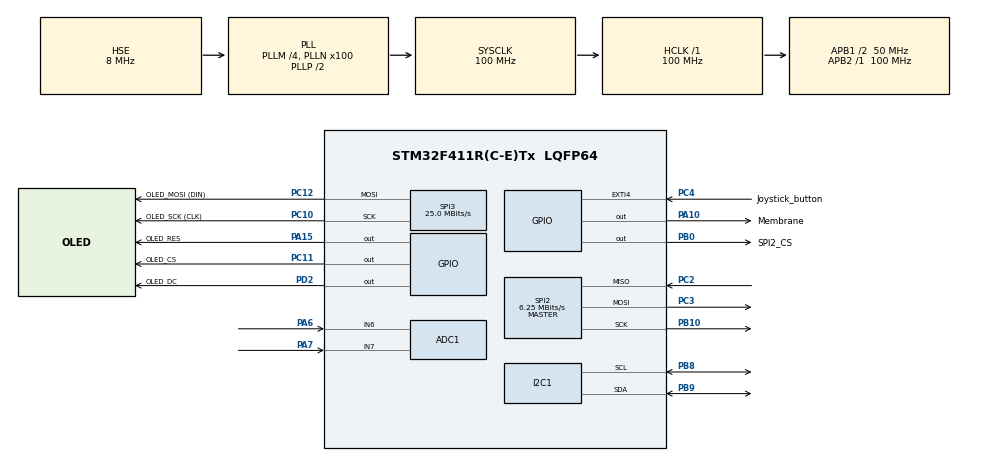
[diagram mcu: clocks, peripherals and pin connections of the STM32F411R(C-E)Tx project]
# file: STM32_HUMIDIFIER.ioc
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ADC1.Channel-1\#ChannelRegularConversion=ADC_CHANNEL_6
ADC1.Channel-2\#ChannelRegularConversion=ADC_CHANNEL_7
ADC1.ClockPrescaler=ADC_CLOCK_SYNC_PCLK_DIV8
ADC1.ContinuousConvMode=ENABLE
ADC1.DMAContinuousRequests=ENABLE
ADC1.NbrOfConversion=2
ADC1.NbrOfConversionFlag=1
ADC1.Rank-1\#ChannelRegularConversion=1
ADC1.Rank-2\#ChannelRegularConversion=2
ADC1.SamplingTime-1\#ChannelRegularConversion=ADC_SAMPLETIME_480CYCLES
ADC1.SamplingTime-2\#ChannelRegularConversion=ADC_SAMPLETIME_480CYCLES
ADC1.master=1
Dma.ADC1.0.Direction=DMA_PERIPH_TO_MEMORY
Dma.ADC1.0.FIFOMode=DMA_FIFOMODE_DISABLE
Dma.ADC1.0.Instance=DMA2_Stream0
Dma.ADC1.0.MemDataAlignment=DMA_MDATAALIGN_HALFWORD
Dma.ADC1.0.MemInc=DMA_MINC_ENABLE
Dma.ADC1.0.Mode=DMA_CIRCULAR
Dma.ADC1.0.PeriphDataAlignment=DMA_PDATAALIGN_HALFWORD
Dma.ADC1.0.PeriphInc=DMA_PINC_DISABLE
Dma.ADC1.0.Priority=DMA_PRIORITY_LOW
Dma.Request0=ADC1
FATFS._MAX_SS=4096
FATFS._USE_LFN=1
Mcu.Family=STM32F4
Mcu.Name=STM32F411R(C-E)Tx
Mcu.Package=LQFP64
NVIC.DMA2_Stream0_IRQn=true\:0\:0\:false\:false\:true\:false\:true\:true
NVIC.EXTI4_IRQn=true\:0\:0\:false\:false\:true\:true\:true\:true
NVIC.PriorityGroup=NVIC_PRIORITYGROUP_0
NVIC.TIM1_UP_TIM10_IRQn=true\:0\:0\:false\:false\:true\:true\:true\:true
PA10.GPIO_Label=Membrane
PA10.Signal=GPIO_Output
PA13.GPIO_Label=TMS
PA13.Mode=Serial_Wire
PA13.Signal=SYS_JTMS-SWDIO
PA14.GPIO_Label=TCK
PA14.Mode=Serial_Wire
PA14.Signal=SYS_JTCK-SWCLK
PA15.GPIO_Label=OLED_RES
PA15.Signal=GPIO_Output
PA6.Signal=ADCx_IN6
PA7.Signal=ADCx_IN7
PB0.GPIO_Label=SPI2_CS
PB0.Signal=GPIO_Output
PB10.Mode=Full_Duplex_Master
PB10.Signal=SPI2_SCK
PB3.GPIO_Label=SWO
PB3.Signal=SYS_JTDO-SWO
PB8.Mode=I2C
PB8.Signal=I2C1_SCL
PB9.Mode=I2C
PB9.Signal=I2C1_SDA
PC10.GPIO_Label=OLED_SCK (CLK)
PC10.Mode=TX_Only_Simplex_Unidirect_Master
PC10.Signal=SPI3_SCK
PC11.GPIO_Label=OLED_CS
PC11.Signal=GPIO_Output
PC12.GPIO_Label=OLED_MOSI (DIN)
PC12.Mode=TX_Only_Simplex_Unidirect_Master
PC12.Signal=SPI3_MOSI
PC2.Mode=Full_Duplex_Master
PC2.Signal=SPI2_MISO
PC3.Mode=Full_Duplex_Master
PC3.Signal=SPI2_MOSI
PC4.GPIO_Label=Joystick_button
PC4.GPIO_ModeDefaultEXTI=GPIO_MODE_IT_RISING
PC4.GPIO_PuPd=GPIO_NOPULL
PC4.Signal=GPXTI4
PD2.GPIO_Label=OLED_DC
PD2.Signal=GPIO_Output
PH0\ -\ OSC_IN.Mode=HSE-External-Oscillator
PH0\ -\ OSC_IN.Signal=RCC_OSC_IN
PH1\ -\ OSC_OUT.Mode=HSE-External-Oscillator
PH1\ -\ OSC_OUT.Signal=RCC_OSC_OUT
ProjectManager.HeapSize=0x200
ProjectManager.StackSize=0x400
ProjectManager.TargetToolchain=STM32CubeIDE
RCC.48MHZClocksFreq_Value=50000000
RCC.AHBFreq_Value=100000000
RCC.APB1CLKDivider=RCC_HCLK_DIV2
RCC.APB1Freq_Value=50000000
RCC.APB1TimFreq_Value=100000000
RCC.APB2Freq_Value=100000000
RCC.APB2TimFreq_Value=100000000
RCC.CortexFreq_Value=100000000
RCC.FLatency-AdvancedSettings=FLASH_LATENCY_3
RCC.HCLKFreq_Value=100000000
RCC.HSE_VALUE=8000000
RCC.HSI_VALUE=16000000
RCC.LSE_VALUE=32768
RCC.PLLM=4
RCC.PLLN=100
RCC.PLLSourceVirtual=RCC_PLLSOURCE_HSE
RCC.SYSCLKFreq_VALUE=100000000
RCC.SYSCLKSource=RCC_SYSCLKSOURCE_PLLCLK
RCC.VCOOutputFreq_Value=200000000
SH.ADCx_IN6.0=ADC1_IN6,IN6
SH.ADCx_IN7.0=ADC1_IN7,IN7
SPI2.BaudRatePrescaler=SPI_BAUDRATEPRESCALER_8
SPI2.CalculateBaudRate=6.25 MBits/s
SPI2.Direction=SPI_DIRECTION_2LINES
SPI2.Mode=SPI_MODE_MASTER
SPI2.VirtualType=VM_MASTER
SPI3.CLKPhase=SPI_PHASE_2EDGE
SPI3.CLKPolarity=SPI_POLARITY_HIGH
SPI3.CalculateBaudRate=25.0 MBits/s
SPI3.Direction=SPI_DIRECTION_2LINES
SPI3.Mode=SPI_MODE_MASTER
SPI3.VirtualType=VM_MASTER
TIM10.Period=9999
TIM10.Prescaler=9999
VP_FATFS_VS_Generic.Mode=User_defined
VP_TIM10_VS_ClockSourceINT.Mode=Enable_Timer
board=NUCLEO-F411RE

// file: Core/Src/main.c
/* USER CODE BEGIN Header */
/**
  ******************************************************************************
  * @file           : main.c
  * @brief          : Main program body
  ******************************************************************************
  * @attention
  *
  * Copyright (c) 2023 STMicroelectronics.
  * All rights reserved.
  *
  * This software is licensed under terms that can be found in the LICENSE file
  * in the root directory of this software component.
  * If no LICENSE file comes with this software, it is provided AS-IS.
  *
  ******************************************************************************
  */
/* USER CODE END Header */
#include "main.h"
#include "adc.h"
#include "dma.h"
#include "fatfs.h"
#include "i2c.h"
#include "spi.h"
#include "tim.h"
#include "gpio.h"

/* USER CODE BEGIN Includes */
// Date and time
#include "LB_date.h"
#include "LB_time.h"

// Humidity sensor
#include "bme280_add.h"

// OLED
#include "LB_OLED_Humidifier.h"

// SD CARD
#include "LB_SD_CARD_Humidifier.h"

// UI
#include "LB_UI_Joystick.h"

// FMS
#include "LB_FSM_Humidifier.h"

// Ultrasonic membrane humidifier
#include "LB_USM_Humidifier.h"

// Standard
#include "stdio.h"
#include "string.h"
#include "stdbool.h"
/* USER CODE END Includes */

/* USER CODE BEGIN PV */
// Ultrasonic membrane humidifier
USM_Humidifier_settings_t Membrane_parameters;
Membrane_t USM_Humidifier;

// Date and time
Time_t time;
Date_t today;

// Temperature, humidity and pressure measurement
struct bme280_dev bme280_sens_dev;
struct bme280_data bme280_sens_data;
struct bme280_data bme280_sens_logging_data;
UNITS_e unit_system = SI;

// OLED
uint8_t thp_screen_counter = 0;
volatile bool clock_screen_update = false;

// SD CARD
Data_Logging_Period_e logging_index = logging_1_min;
uint16_t logging_counter = 0;
#ifdef CSV_LOGGING				// You can find #define CSV_LOGGING line in LB_SD_CARD_Humidifier.h
char * logs_file_name = "logs.csv";
#else
char * logs_file_name = "logs.txt";
#endif

// UI
Joystick_t Joystick;
Button_t Joystick_Moved;
Button_t Joystick_Pressed;

// FSM
STATE_e FSM_State;
EVENT_e FSM_Event;

TRANSITION_FUNC_PTR_t LB_Transition_Table[STATE_MAX][EVENT_MAX] = {
		[state_thp_screen]					[event_none]			=thp_screen,
		[state_thp_screen]					[event_button_pressed]	=thp_screen,
		[state_thp_screen]					[event_joystick_right]	=humidifier_screen,
		[state_thp_screen]					[event_joystick_left]	=data_logging_period_screen,

		[state_humidifier_screen]			[event_none]			=humidifier_screen,
		[state_humidifier_screen]			[event_button_pressed]	=set_humidity,
		[state_humidifier_screen]			[event_joystick_right]	=clock_screen,
		[state_humidifier_screen]			[event_joystick_left]	=thp_screen,

		[state_clock_screen]				[event_none]			=clock_screen,
		[state_clock_screen]				[event_button_pressed]	=set_time_h,
		[state_clock_screen]				[event_joystick_right]	=data_logging_period_screen,
		[state_clock_screen]				[event_joystick_left]	=humidifier_screen,

		[state_data_logging_period_screen]	[event_none]			=data_logging_period_screen,
		[state_data_logging_period_screen]	[event_button_pressed]	=set_data_logging_period,
		[state_data_logging_period_screen]	[event_joystick_right]	=thp_screen,
		[state_data_logging_period_screen]	[event_joystick_left]	=clock_screen,

		[state_set_humidity]				[event_none]			=set_humidity,
		[state_set_humidity]				[event_button_pressed]	=set_duration,
		[state_set_humidity]				[event_joystick_right]	=set_humidity,
		[state_set_humidity]				[event_joystick_left]	=set_humidity,

		[state_set_duration]				[event_none]			=set_duration,
		[state_set_duration]				[event_button_pressed]	=set_delay,
		[state_set_duration]				[event_joystick_right]	=set_duration,
		[state_set_duration]				[event_joystick_left]	=set_duration,

		[state_set_delay]					[event_none]			=set_delay,
		[state_set_delay]					[event_button_pressed]	=humidifier_screen,
		[state_set_delay]					[event_joystick_right]	=set_delay,
		[state_set_delay]					[event_joystick_left]	=set_delay,

		[state_set_time_h]					[event_none]			=set_time_h,
		[state_set_time_h]					[event_button_pressed]	=set_date_d,
		[state_set_time_h]					[event_joystick_right]	=set_time_m,
		[state_set_time_h]					[event_joystick_left]	=set_time_s,

		[state_set_time_m]					[event_none]			=set_time_m,
		[state_set_time_m]					[event_button_pressed]	=set_date_d,
		[state_set_time_m]					[event_joystick_right]	=set_time_s,
		[state_set_time_m]					[event_joystick_left]	=set_time_h,

		[state_set_time_s]					[event_none]			=set_time_s,
		[state_set_time_s]					[event_button_pressed]	=set_date_d,
		[state_set_time_s]					[event_joystick_right]	=set_time_h,
		[state_set_time_s]					[event_joystick_left]	=set_time_m,

		[state_set_date_y]					[event_none]			=set_date_y,
		[state_set_date_y]					[event_button_pressed]	=clock_screen,
		[state_set_date_y]					[event_joystick_right]	=set_date_d,
		[state_set_date_y]					[event_joystick_left]	=set_date_m,

		[state_set_date_m]					[event_none]			=set_date_m,
		[state_set_date_m]					[event_button_pressed]	=clock_screen,
		[state_set_date_m]					[event_joystick_right]	=set_date_y,
		[state_set_date_m]					[event_joystick_left]	=set_date_d,

		[state_set_date_d]					[event_none]			=set_date_d,
		[state_set_date_d]					[event_button_pressed]	=clock_screen,
		[state_set_date_d]					[event_joystick_right]	=set_date_m,
		[state_set_date_d]					[event_joystick_left]	=set_date_y,

		[state_set_data_logging_period]		[event_none]			=set_data_logging_period,
		[state_set_data_logging_period]		[event_button_pressed]	=data_logging_period_screen,
		[state_set_data_logging_period]		[event_joystick_right]	=set_data_logging_period,
		[state_set_data_logging_period]		[event_joystick_left]	=set_data_logging_period

};
/* USER CODE END PV */

void SystemClock_Config(void);
/* USER CODE BEGIN PFP */
// UI
void HAL_GPIO_EXTI_Callback(uint16_t GPIO_Pin);

// TIM
void HAL_TIM_PeriodElapsedCallback(TIM_HandleTypeDef *htim);
/* USER CODE END PFP */

int main(void)
{

  /* MCU Configuration--------------------------------------------------------*/

  /* Reset of all peripherals, Initializes the Flash interface and the Systick. */
  HAL_Init();

  /* Configure the system clock */
  SystemClock_Config();

  /* Initialize all configured peripherals */
  MX_GPIO_Init();
  MX_DMA_Init();
  MX_SPI2_Init();
  MX_FATFS_Init();
  MX_I2C1_Init();
  MX_SPI3_Init();
  MX_TIM10_Init();
  MX_ADC1_Init();
  /* USER CODE BEGIN 2 */

  // The initialization of FSM
  LB_Init_FSM(&FSM_State, &FSM_Event);

  // Initializations of date and time
  LB_Init_Date(&today);
  LB_Init_Time(&time);
  LB_Set_Time(&time, 12, 0, 0);

  // The initialization of UI
  LB_Init_Button(&Joystick_Moved);
  LB_Init_Button(&Joystick_Pressed);
  LB_ADC_Start_DMA(&hadc1, &Joystick);

  // The initialization of humidity sensor
  BME280_init(&bme280_sens_dev);

  // The initialization of ultrasonic membrane humidifier
  LB_Init_USM_Hum_Parameters(&Membrane_parameters, hum_lvl_50, hum_duration_60, hum_delay_5);

  // The initialization of OLED
  ssd1331_init();
  ssd1331_clear_screen(BACKGROUND_COLOR);

  // The initialization of TIM10
  HAL_Delay(500);
  HAL_TIM_Base_Start_IT(&htim10);

  /* USER CODE END 2 */

  /* Infinite loop */
  /* USER CODE BEGIN WHILE */
  while (1)
  {
	  LB_Humidifier(&bme280_sens_data, &USM_Humidifier, &Membrane_parameters);
	  LB_Data_Logging_Function(logs_file_name, &today, &time, &bme280_sens_dev, &bme280_sens_logging_data, &logging_counter, logging_index);
	  LB_Transition_Table[FSM_State][FSM_Event]();
	  LB_UI_Joystick_State_Refresh(&Joystick_Moved, &Joystick_Pressed);	// TODO: fix bouncing
    /* USER CODE END WHILE */

  }
}

void SystemClock_Config(void)
{
  RCC_OscInitTypeDef RCC_OscInitStruct = {0};
  RCC_ClkInitTypeDef RCC_ClkInitStruct = {0};

  /** Configure the main internal regulator output voltage
  */
  __HAL_RCC_PWR_CLK_ENABLE();
  __HAL_PWR_VOLTAGESCALING_CONFIG(PWR_REGULATOR_VOLTAGE_SCALE1);

  /** Initializes the RCC Oscillators according to the specified parameters
  * in the RCC_OscInitTypeDef structure.
  */
  RCC_OscInitStruct.OscillatorType = RCC_OSCILLATORTYPE_HSE;
  RCC_OscInitStruct.HSEState = RCC_HSE_ON;
  RCC_OscInitStruct.PLL.PLLState = RCC_PLL_ON;
  RCC_OscInitStruct.PLL.PLLSource = RCC_PLLSOURCE_HSE;
  RCC_OscInitStruct.PLL.PLLM = 4;
  RCC_OscInitStruct.PLL.PLLN = 100;
  RCC_OscInitStruct.PLL.PLLP = RCC_PLLP_DIV2;
  RCC_OscInitStruct.PLL.PLLQ = 4;
  if (HAL_RCC_OscConfig(&RCC_OscInitStruct) != HAL_OK)
  {
    Error_Handler();
  }

  /** Initializes the CPU, AHB and APB buses clocks
  */
  RCC_ClkInitStruct.ClockType = RCC_CLOCKTYPE_HCLK|RCC_CLOCKTYPE_SYSCLK
                              |RCC_CLOCKTYPE_PCLK1|RCC_CLOCKTYPE_PCLK2;
  RCC_ClkInitStruct.SYSCLKSource = RCC_SYSCLKSOURCE_PLLCLK;
  RCC_ClkInitStruct.AHBCLKDivider = RCC_SYSCLK_DIV1;
  RCC_ClkInitStruct.APB1CLKDivider = RCC_HCLK_DIV2;
  RCC_ClkInitStruct.APB2CLKDivider = RCC_HCLK_DIV1;

  if (HAL_RCC_ClockConfig(&RCC_ClkInitStruct, FLASH_LATENCY_3) != HAL_OK)
  {
    Error_Handler();
  }
}

/* USER CODE BEGIN 4 */
void HAL_GPIO_EXTI_Callback(uint16_t GPIO_Pin)
{
	if (Joystick_button_Pin == GPIO_Pin)
	{
		LB_UI_Joystick_Switch_Pressed(&Joystick_Pressed);
		if (state_thp_screen == FSM_State)
		{
			if (SI == unit_system)
			{
				unit_system = Imperial;
			}
			else
			{
				unit_system = SI;
			}
		}
		FSM_Event = event_button_pressed;
	}
}

void HAL_TIM_PeriodElapsedCallback(TIM_HandleTypeDef *htim)
{

	if (TIM10 == htim->Instance)
	{
		if (USM_Humidifier.membrane_is_active)
		{
			USM_Humidifier.membrane_active_counter++;
		}
		else
		{
			USM_Humidifier.membrane_delay_counter++;
		}
		thp_screen_counter++;
		clock_screen_update = true;
		if (NON_DATE_N_TIME_SET_STATE(FSM_State))
		{
			if (NEW_DAY == LB_Times_Ticking(&time))
			{
				LB_Next_Day(&today);
			}
			if (state_set_data_logging_period != FSM_State)
			{
				logging_counter++;
			}
		}
	}
}

/* USER CODE END 4 */

void Error_Handler(void)
{
  __disable_irq();
  while (1)
  {
  }
}
